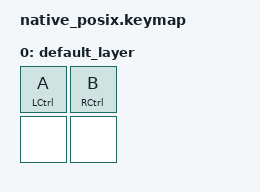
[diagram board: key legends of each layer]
#include <dt-bindings/zmk/keys.h>
#include <behaviors.dtsi>
#include <dt-bindings/zmk/kscan-mock.h>

&mt {
	flavor = "hold-preferred";
};

/* This test verifies that hold-tap keys can observe
 * events which were released from combos.
 */
/ {
	combos {
		compatible = "zmk,combo";
		combo_one {
			timeout-ms = <100>;
			key-positions = <0 2>;
			bindings = <&kp Y>;
		};
		combo_two {
			timeout-ms = <100>;
			key-positions = <1 3>;
			bindings = <&kp Z>;
		};
	};

	keymap {
		compatible = "zmk,keymap";
		label ="Default keymap";

		default_layer {
			bindings = <
				&mt LEFT_CONTROL A &mt RIGHT_CONTROL B
				&none &none
			>;
		};
	};
};

&kscan {
	events = <
		ZMK_MOCK_PRESS(0,0,0) 
		ZMK_MOCK_PRESS(0,1,300)
	>;
};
